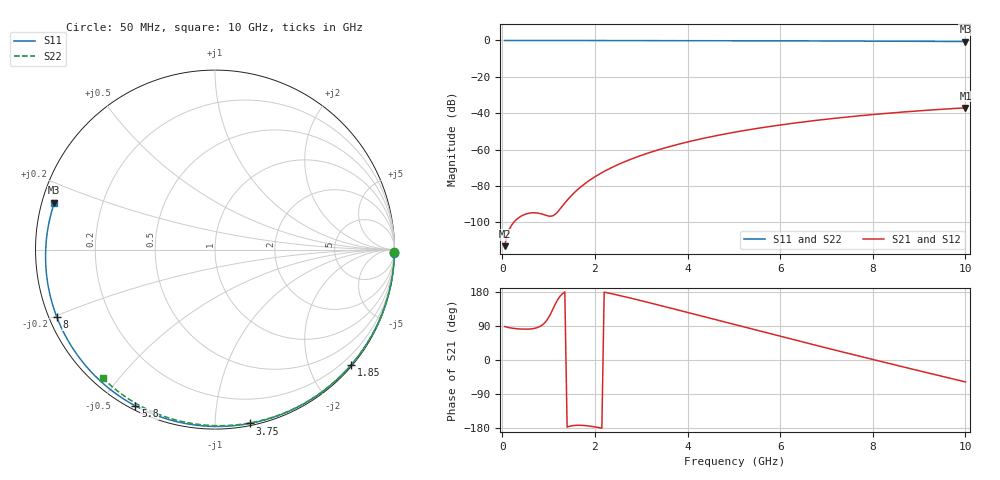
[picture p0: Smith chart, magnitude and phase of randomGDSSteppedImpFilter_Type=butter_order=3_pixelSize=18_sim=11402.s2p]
! freq	dB(S11)	phase(S11)	dB(S12)	phase(S12)
!  dB(S21)	phase(S21)	dB(S22)	phase(S22)
!S-par simulation data
#  GHz  S  DB  R 50
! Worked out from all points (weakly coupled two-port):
!   200 points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, 50 MHz to 10 GHz, reference 50 ohm
!   highest |S21| = -37.08 dB at 10 GHz (marker M1); lowest = -113.2 dB at 50 MHz (marker M2)
!   lowest |S11| = -0.6 dB at 10 GHz (marker M3), VSWR 28.61, Z = 1.78 + j7.14 ohm
!   |S11| at or under -10 dB: nowhere
!   |S22| runs from -0.4 to 0.0 dB; largest |S21 - S12| = 0
!   S11 on the Smith chart (normalised r, x): 50 MHz: open; 1.85 GHz: 0.03, -2.74; 3.75 GHz: 0.02, -1.22; 5.8 GHz: 0.02, -0.61; 8 GHz: 0.02, -0.21; 10 GHz: 0.04, +0.14
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0.05  -0.00 -1.1  -113.19 88.2  -113.19 88.2  -0.00 -0.8
0.45  -0.01 -9.9  -96.11 81.4  -96.11 81.4  -0.01 -6.8
0.85  -0.02 -18.7  -95.45 91.3  -95.45 91.3  -0.02 -12.8
1.25  -0.03 -27.3  -92.66 168.7  -92.66 168.7  -0.02 -18.8
1.7  -0.05 -36.9  -80.45 -172.3  -80.45 -172.3  -0.03 -25.4
1.75  -0.05 -38.0  -79.43 -172.6  -79.43 -172.6  -0.03 -26.1
1.85  -0.05 -40.1  -77.54 -173.9  -77.54 -173.9  -0.04 -27.6
2.15  -0.06 -46.4  -72.75 -179.8  -72.75 -179.8  -0.04 -32.0
2.5  -0.07 -53.7  -68.30 171.1  -68.30 171.1  -0.05 -37.0
2.9  -0.08 -61.8  -64.16 159.5  -64.16 159.5  -0.06 -42.7
3.4  -0.10 -71.8  -59.95 144.2  -59.95 144.2  -0.07 -49.8
3.75  -0.11 -78.7  -57.46 133.3  -57.46 133.3  -0.07 -54.6
4.4  -0.13 -91.1  -53.55 112.8  -53.55 112.8  -0.09 -63.4
5.05  -0.16 -103.3  -50.33 92.3  -50.33 92.3  -0.11 -72.0
5.8  -0.20 -117.0  -47.24 68.8  -47.24 68.8  -0.14 -81.7
6.7  -0.26 -133.2  -44.21 40.9  -44.21 40.9  -0.18 -92.9
7.35  -0.31 -144.9  -42.37 21.1  -42.37 21.1  -0.22 -100.7
8  -0.37 -156.8  -40.77 1.4  -40.77 1.4  -0.26 -108.4
8.35  -0.41 -163.3  -40.00 -9.1  -40.00 -9.1  -0.29 -112.4
9.2  -0.51 -179.8  -38.36 -34.3  -38.36 -34.3  -0.36 -122.1
9.6  -0.56 172.1  -37.69 -46.1  -37.69 -46.1  -0.40 -126.7
10  -0.61 163.7  -37.08 -57.8  -37.08 -57.8  -0.44 -131.2
